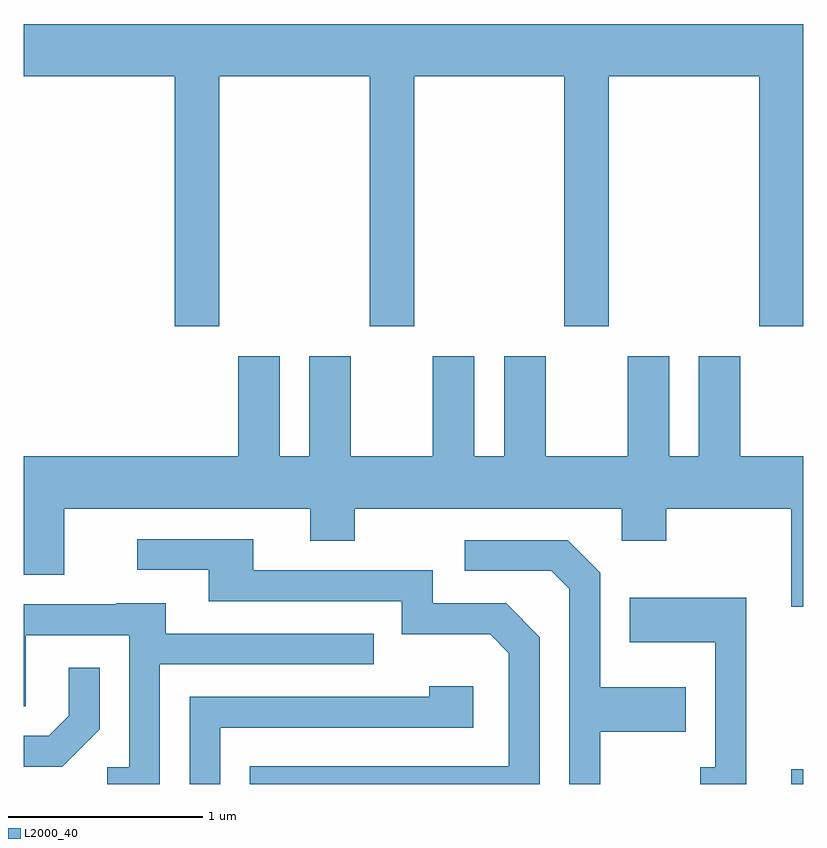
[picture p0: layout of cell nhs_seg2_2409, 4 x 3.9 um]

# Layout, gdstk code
import gdstk
lib = gdstk.Library(unit=1e-6, precision=1e-09)
def R(c, l, rs):  # rectangles x0, y0, x1, y1
    for r in rs: c.add(gdstk.rectangle(r[:2], r[2:], *l))
def P(c, l, *ps):  # polygons
    for p in ps: c.add(gdstk.Polygon(p, *l))
L2000_40 = (2000, 40)

nhs_seg2_2409 = lib.new_cell('nhs_seg2_2409')
R(nhs_seg2_2409, L2000_40, [(259.551,1035.802,259.611,1035.879)])
P(nhs_seg2_2409, L2000_40, [(256.614,1039.436),(257.386,1039.436),(257.386,1038.151),(257.614,1038.151),(257.614,1039.436),(258.386,1039.436),(258.386,1038.151),(258.614,1038.151),(258.614,1039.436),(259.386,1039.436),(259.386,1038.151),(259.611,1038.151),(259.611,1039.704),(255.611,1039.704),(255.611,1039.436),(256.386,1039.436),(256.386,1038.151),(256.614,1038.151)],
  [(259.289,1037.999),(259.076,1037.999),(259.076,1037.484),(258.924,1037.484),(258.924,1037.999),(258.711,1037.999),(258.711,1037.484),(258.289,1037.484),(258.289,1037.999),(258.076,1037.999),(258.076,1037.484),(257.924,1037.484),(257.924,1037.999),(257.711,1037.999),(257.711,1037.484),(257.289,1037.484),(257.289,1037.999),(257.076,1037.999),(257.076,1037.484),(256.924,1037.484),(256.924,1037.999),(256.711,1037.999),(256.711,1037.484),(255.611,1037.484),(255.611,1036.876),(255.819,1036.876),(255.819,1037.216),(257.081,1037.216),(257.081,1037.051),(257.309,1037.051),(257.309,1037.216),(258.681,1037.216),(258.681,1037.051),(258.909,1037.051),(258.909,1037.216),(259.551,1037.216),(259.551,1036.711),(259.611,1036.711),(259.611,1037.484),(259.289,1037.484)],
  [(258.259,1036.556),(258.087,1036.729),(257.709,1036.729),(257.709,1036.899),(256.789,1036.899),(256.789,1037.059),(256.193,1037.059),(256.193,1036.901),(256.561,1036.901),(256.561,1036.741),(257.551,1036.741),(257.551,1036.571),(258.004,1036.571),(258.101,1036.474),(258.101,1035.894),(256.771,1035.894),(256.771,1035.802),(258.259,1035.802)],
  [(258.569,1036.071),(259.009,1036.071),(259.009,1036.299),(258.569,1036.299),(258.569,1036.887),(258.402,1037.054),(257.873,1037.054),(257.873,1036.896),(258.319,1036.896),(258.411,1036.804),(258.411,1035.802),(258.569,1035.802)],
  [(259.319,1036.759),(258.721,1036.759),(258.721,1036.531),(259.161,1036.531),(259.161,1035.889),(259.082,1035.889),(259.082,1035.802),(259.319,1035.802)],
  [(256.309,1036.416),(257.408,1036.416),(257.408,1036.574),(256.339,1036.574),(256.339,1036.729),(256.085,1036.729),(256.085,1036.724),(255.611,1036.724),(255.611,1036.201),(255.619,1036.201),(255.619,1036.566),(256.151,1036.566),(256.151,1035.889),(256.038,1035.889),(256.038,1035.802),(256.309,1035.802)],
  [(255.999,1036.084),(255.999,1036.398),(255.841,1036.398),(255.841,1036.152),(255.739,1036.049),(255.611,1036.049),(255.611,1035.891),(255.807,1035.891)],
  [(256.619,1036.091),(257.919,1036.091),(257.919,1036.304),(257.691,1036.304),(257.691,1036.249),(256.461,1036.249),(256.461,1035.802),(256.619,1035.802)])

lib.write_gds('nhs_seg2_2409.gds')
